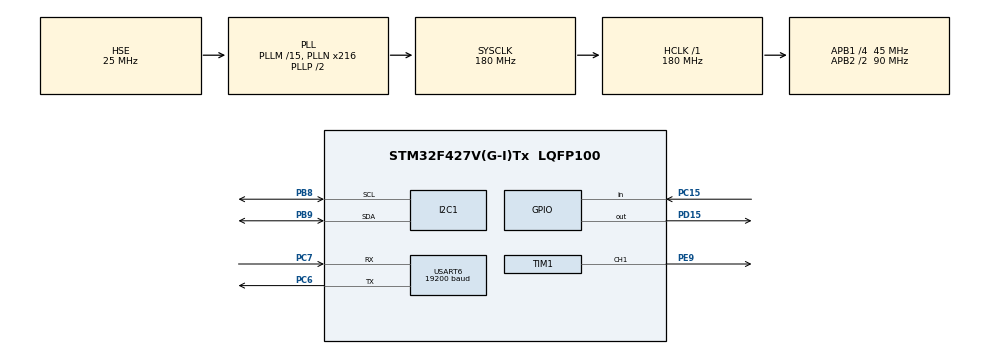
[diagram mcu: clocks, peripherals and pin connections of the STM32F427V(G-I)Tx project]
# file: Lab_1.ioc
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I2C1.I2C_Mode=I2C_Fast
Mcu.Family=STM32F4
Mcu.Name=STM32F427V(G-I)Tx
Mcu.Package=LQFP100
NVIC.PriorityGroup=NVIC_PRIORITYGROUP_4
NVIC.TIM6_DAC_IRQn=true\:0\:0\:false\:false\:true\:true\:true\:true
NVIC.USART6_IRQn=true\:0\:0\:false\:false\:true\:true\:true\:true
PA13.Mode=JTAG_5_pins
PA13.Signal=SYS_JTMS-SWDIO
PA14.Mode=JTAG_5_pins
PA14.Signal=SYS_JTCK-SWCLK
PA15.Mode=JTAG_5_pins
PA15.Signal=SYS_JTDI
PB3.Mode=JTAG_5_pins
PB3.Signal=SYS_JTDO-SWO
PB4.Mode=JTAG_5_pins
PB4.Signal=SYS_JTRST
PB8.Mode=I2C
PB8.Signal=I2C1_SCL
PB9.Mode=I2C
PB9.Signal=I2C1_SDA
PC15/OSC32_OUT.Signal=GPIO_Input
PC6.Mode=Asynchronous
PC6.Signal=USART6_TX
PC7.Mode=Asynchronous
PC7.Signal=USART6_RX
PD15.Signal=GPIO_Output
PE9.Signal=S_TIM1_CH1
PH0/OSC_IN.Mode=HSE-External-Oscillator
PH0/OSC_IN.Signal=RCC_OSC_IN
PH1/OSC_OUT.Mode=HSE-External-Oscillator
PH1/OSC_OUT.Signal=RCC_OSC_OUT
ProjectManager.HeapSize=0x200
ProjectManager.StackSize=0x400
ProjectManager.TargetToolchain=STM32CubeIDE
RCC.48MHZClocksFreq_Value=90000000
RCC.AHBFreq_Value=180000000
RCC.APB1CLKDivider=RCC_HCLK_DIV4
RCC.APB1Freq_Value=45000000
RCC.APB1TimFreq_Value=90000000
RCC.APB2CLKDivider=RCC_HCLK_DIV2
RCC.APB2Freq_Value=90000000
RCC.APB2TimFreq_Value=180000000
RCC.CortexFreq_Value=180000000
RCC.HCLKFreq_Value=180000000
RCC.HSE_VALUE=25000000
RCC.HSI_VALUE=16000000
RCC.LSE_VALUE=32768
RCC.PLLM=15
RCC.PLLN=216
RCC.PLLSourceVirtual=RCC_PLLSOURCE_HSE
RCC.SYSCLKFreq_VALUE=180000000
RCC.SYSCLKSource=RCC_SYSCLKSOURCE_PLLCLK
RCC.VCOOutputFreq_Value=360000000
SH.S_TIM1_CH1.0=TIM1_CH1,PWM Generation1 CH1
TIM1.AutoReloadPreload=TIM_AUTORELOAD_PRELOAD_ENABLE
TIM1.Channel-PWM\ Generation1\ CH1=TIM_CHANNEL_1
TIM1.Period=999
TIM1.Prescaler=8999
TIM6.Period=9
TIM6.Prescaler=8999
USART6.BaudRate=19200
USART6.VirtualMode=VM_ASYNC
VP_TIM6_VS_ClockSourceINT.Mode=Enable_Timer
board=custom

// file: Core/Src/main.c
/* USER CODE BEGIN Header */
/**
  ******************************************************************************
  * @file           : main.c
  * @brief          : Main program body
  ******************************************************************************
  * @attention
  *
  * Copyright (c) 2025 STMicroelectronics.
  * All rights reserved.
  *
  * This software is licensed under terms that can be found in the LICENSE file
  * in the root directory of this software component.
  * If no LICENSE file comes with this software, it is provided AS-IS.
  *
  ******************************************************************************
  */
/* USER CODE END Header */
#include "main.h"
#include "i2c.h"
#include "tim.h"
#include "usart.h"
#include "gpio.h"

/* USER CODE BEGIN Includes */
#include <stdio.h>
#include <stdlib.h>
#include <string.h>
#include <stdint.h>
#include "melody.h"
#include "melodies_data.h"
extern TIM_HandleTypeDef htim6;
/* USER CODE END Includes */

void SystemClock_Config(void);

/* USER CODE BEGIN 0 */
#define MAX_INPUT_LENGTH 512
#define MAX_MELODIES 4
#define MAX_USER_NOTES 256

// I2C keypad (SDK-1.1) parameters
#define KB_I2C_ADDRESS        (0xE2)          // 8-bit address
#define KB_I2C_READ_ADDRESS   (KB_I2C_ADDRESS | 1)
#define KB_I2C_WRITE_ADDRESS  (KB_I2C_ADDRESS & ~1)
#define KB_INPUT_REG          (0x0)
#define KB_OUTPUT_REG         (0x1)
#define KB_CONFIG_REG         (0x3)
#define KB_KEY_DEBOUNCE_MS    50U
#define KB_I2C_TIMEOUT        10U
#define MODE_BTN_PORT         GPIOC
#define MODE_BTN_PIN          GPIO_PIN_15

void print_string(char* s) {
	if (s == NULL) return;
	int len = strlen(s);
	if (len == 0) return;
	HAL_UART_Transmit(&huart6, (uint8_t *)s, len, HAL_MAX_DELAY);
}

static Melody* standard_melodies[MAX_MELODIES] = {NULL};
static Melody* user_melody = NULL;

// Keyboard state
static uint32_t kb_last_press_ms = 0;
static int kb_last_index = -1;
static uint8_t kb_row_hits[4] = {0};
static uint8_t kb_col_hits[3] = {0};
static uint32_t mode_btn_last_ms = 0;
static uint8_t mode_btn_last = 1;
static uint8_t keyboard_test_mode = 0;

// Key mapping: indices 1..12 -> chars used by app
static const char kb_map_music[12] = {
	'1','2','3',
	'4','5','6',
	'7','8','9',
	':','0','\r'
};

// Scan matrix via I2C expander; return key index 1..12 or -1 if none/invalid
static int kb_scan_index(void) {
	const uint32_t now = HAL_GetTick();
	if (now - kb_last_press_ms < KB_KEY_DEBOUNCE_MS) {
		return -1;
	}

	uint8_t tmp = 0;
	uint8_t reg_buffer = 0xFF;
	int detected_index = -1;
	int found = 0;

	if (HAL_I2C_Mem_Write(&hi2c1, KB_I2C_WRITE_ADDRESS, KB_OUTPUT_REG, 1, &tmp, 1, KB_I2C_TIMEOUT) != HAL_OK) {
		return -1;
	}

	for (int row = 0; row < 4; row++) {
		uint8_t cfg = (uint8_t)~(1U << row);
		if (HAL_I2C_Mem_Write(&hi2c1, KB_I2C_WRITE_ADDRESS, KB_CONFIG_REG, 1, &cfg, 1, KB_I2C_TIMEOUT) != HAL_OK) {
			continue;
		}
		HAL_Delay(1); // settle
		if (HAL_I2C_Mem_Read(&hi2c1, KB_I2C_READ_ADDRESS, KB_INPUT_REG, 1, &reg_buffer, 1, KB_I2C_TIMEOUT) != HAL_OK) {
			continue;
		}

		uint8_t col_code = reg_buffer >> 4; // upper 4 bits are columns
		int col = -1;
		switch (col_code) {
			case 6: col = 0; break; // 0b0110
			case 5: col = 1; break; // 0b0101
			case 3: col = 2; break; // 0b0011
			default: col = -1; break;
		}

		if (col != -1) {
			found++;
			kb_row_hits[row]++;
			kb_col_hits[col]++;
			if (found == 1) {
				detected_index = row * 3 + col + 1; // 1..12
			}
		}
	}

	int row_sum = kb_row_hits[0]+kb_row_hits[1]+kb_row_hits[2]+kb_row_hits[3];
	int col_sum = kb_col_hits[0]+kb_col_hits[1]+kb_col_hits[2];
	memset(kb_row_hits, 0, sizeof(kb_row_hits));
	memset(kb_col_hits, 0, sizeof(kb_col_hits));

	// Если ни одной валидной клавиши — сбросить last и выйти
	if (found == 0) {
		kb_last_index = -1;
		return -1;
	}

	if (found != 1 || row_sum != 1 || col_sum != 1) {
		kb_last_index = -1;
		return -1; // multi-press or no key
	}

	if (detected_index == kb_last_index) {
		return -1; // held key, ignore repeat
	}

	kb_last_index = detected_index;
	kb_last_press_ms = now;
	return detected_index;
}

static char kb_poll_char(void) {
	int idx = kb_scan_index();
	if (idx <= 0 || idx > 12) return 0;
	return kb_map_music[idx - 1];
}

static void kb_clear_last(void) {
	kb_last_index = -1;
}

static void handle_mode_button(void) {
	uint8_t state = HAL_GPIO_ReadPin(MODE_BTN_PORT, MODE_BTN_PIN);
	uint32_t now = HAL_GetTick();
	if (state != mode_btn_last && (now - mode_btn_last_ms) > 50U) {
		mode_btn_last = state;
		mode_btn_last_ms = now;
		if (state == GPIO_PIN_RESET) { // release (active-low)
			keyboard_test_mode = !keyboard_test_mode;
			if (keyboard_test_mode) {
				print_string("Keyboard test mode ON\r\n");
			} else {
				print_string("Application mode ON\r\n");
			}
		}
	}
}

static Melody* parse_user_melody_string(const char* input) {
    if (!input || strlen(input) == 0) {
        return NULL;
    }

    size_t note_count = 1;
    for (const char* p = input; *p; p++) {
        if (*p == ',') note_count++;
    }

    Melody* melody = melody_create(note_count, "User melody");
    if (!melody) return NULL;

    char* input_copy = strdup(input);
    if (!input_copy) {
        melody_free(melody);
        return NULL;
    }

    char* token = strtok(input_copy, ",");
    size_t index = 0;

    while (token && index < note_count) {
        uint32_t frequency = 0, duration = 0, pause = 0;
        if (sscanf(token, "%lu:%lu:%lu", &frequency, &duration, &pause) >= 2) {
            melody->notes[index].frequency = frequency;
            melody->notes[index].duration = duration;
            melody->notes[index].pause = pause;
            index++;
        }
        token = strtok(NULL, ",");
    }

    melody->count = index;
    free(input_copy);
    return melody;
}

static void load_standard_melodies(void) {
    standard_melodies[0] = get_happy_birthday();
    standard_melodies[1] = get_jingle_bells();
    standard_melodies[2] = get_elochka();
    standard_melodies[3] = get_imperial_march();
}

int duration = 0;
int melody_pause = 0;
int i=0;
int melody_playing =0;
Melody* melody = NULL;

void HAL_TIM_PeriodElapsedCallback(TIM_HandleTypeDef * htim) {
	if (htim->Instance != TIM6 || !melody_playing) {
		return;
	}

	if (melody_pause > 0) {
		melody_pause--;
		return;
	}

	if (melody->notes[i].frequency == 0) {
		htim1.Instance->CCR1 = 0;
	} else {
		htim1.Instance->ARR = 180000000 / ((melody->notes[i].frequency) * htim1.Instance->PSC) - 1;
		htim1.Instance->CCR1 = htim1.Instance->ARR >> 1;
	}

	duration++;

	if (duration >= melody->notes[i].duration) {
		duration = 0;
		i++;
		htim1.Instance->CCR1 = 0;

		if (i >= melody->count) {
			i = 0;
			melody_playing = 0;
		} else {
			melody_pause = melody->notes[i].pause;
		}
	}
}

static void play_melody_with_message() {
    print_string("Playing melody\r\n");

    i=0;
    duration = 0;
    melody_playing=1;
    melody_pause = 0;
}
char receive_input(void) {
    // 1) keypad first
    char key = kb_poll_char();
    if (key) {
    	return key;
    }

    // 2) UART (non-blocking)
    char c;
    HAL_StatusTypeDef status = HAL_UART_Receive(&huart6, (uint8_t*)&c, 1, 50);
    if (status == HAL_OK) {
        return c;
    }
    return 0;
}

static void handle_setup_menu(void) {
	print_string("=== Setup Menu ===\r\n");
	print_string("Enter notes one per line: frequency:duration[:pause]\r\n");
	print_string("Example: 440:500:100\r\n");
	print_string("Press Enter to add note; press Enter twice to finish\r\n");

	Note temp_notes[MAX_USER_NOTES];
	size_t note_count = 0;
	char note_buf[64] = {0};
	size_t note_len = 0;
	uint8_t last_enter = 0;

	while (1) {
		char c = receive_input();
		if (c == 0) continue;

		if (c == '\n' || c == '\r') {
			if (note_len == 0) {
				if (last_enter) {
					// finish input
					break;
				} else {
					last_enter = 1;
					print_string("\r\n"); // echo empty line
					continue;
				}
			}
			// parse current note
			note_buf[note_len] = '\0';
			uint32_t f=0,d=0,p=0;
			int scanned = sscanf(note_buf, "%lu:%lu:%lu", &f, &d, &p);
			if (scanned < 2) {
				print_string("\r\nError: note format must be freq:dur[:pause]\r\n");
				// reset current buffer
				note_len = 0;
				memset(note_buf, 0, sizeof(note_buf));
				last_enter = 0;
				continue;
			}
			if (note_count >= MAX_USER_NOTES) {
				print_string("\r\nError: too many notes\r\n");
				note_len = 0;
				memset(note_buf, 0, sizeof(note_buf));
				last_enter = 0;
				continue;
			}
			temp_notes[note_count].frequency = f;
			temp_notes[note_count].duration  = d;
			temp_notes[note_count].pause     = (scanned >= 3) ? p : 0;
			note_count++;

			print_string("\r\nNote added\r\n");

			// reset for next note
			note_len = 0;
			memset(note_buf, 0, sizeof(note_buf));
			last_enter = 0;
			continue;
		}

		if (note_len >= sizeof(note_buf) - 1) {
			print_string("\r\nError: note text too long\r\n");
			note_len = 0;
			memset(note_buf, 0, sizeof(note_buf));
			last_enter = 0;
			continue;
		}

		if (c >= 32 && c <= 126) {
			note_buf[note_len++] = c;
			char char_str[2] = {c, '\0'};
			print_string(char_str);
		}
	}

	// build melody
	if (note_count == 0) {
		print_string("Input is empty, exiting setup menu\r\n");
		return;
	}

	if (user_melody) {
		melody_free(user_melody);
	}
	user_melody = melody_create(note_count, "User melody");
	if (!user_melody) {
		print_string("Error: cannot allocate melody\r\n");
		return;
	}
	for (size_t k = 0; k < note_count; ++k) {
		user_melody->notes[k] = temp_notes[k];
	}
	user_melody->count = note_count;

	char count_str[32];
	sprintf(count_str, "%lu", (unsigned long)user_melody->count);
	print_string("User melody saved successfully! (");
	print_string(count_str);
	print_string(" notes)\r\n");
	print_string("Press '5' to play it\r\n");
}

/* USER CODE END 0 */

int main(void)
{

  /* MCU Configuration--------------------------------------------------------*/

  /* Reset of all peripherals, Initializes the Flash interface and the Systick. */
  HAL_Init();

  /* Configure the system clock */
  SystemClock_Config();

  /* Initialize all configured peripherals */
  MX_GPIO_Init();
  MX_USART6_UART_Init();
  MX_TIM6_Init();
  MX_TIM1_Init();
  MX_I2C1_Init();

  /* Infinite loop */
  /* USER CODE BEGIN WHILE */
  print_string("=== Musical Box ===\r\n");
  print_string("Commands:\r\n");
  print_string("  '1' - Play Happy Birthday\r\n");
  print_string("  '2' - Play Jingle Bells\r\n");
  print_string("  '3' - Play V lesu rodilas elochka\r\n");
  print_string("  '4' - Play Imperial March\r\n");
  print_string("  '5' - Play user melody\r\n");
  print_string("  Enter - Setup menu\r\n");
  print_string("Ready!\r\n");

  load_standard_melodies();

  HAL_TIM_Base_Start_IT(&htim6);
  HAL_TIM_PWM_Start(&htim1, TIM_CHANNEL_1);
  while (1)
  {
	handle_mode_button();

    /* USER CODE END WHILE */

    /* USER CODE BEGIN 3 */
    char c = receive_input();
	if (c == 0) {
		continue;
	}

	if (keyboard_test_mode) {
		char buf[16];
		snprintf(buf, sizeof(buf), "Key: %c\r\n", c);
		print_string(buf);
		kb_clear_last();
		continue;
	}

	// Проверяем, не играет ли сейчас мелодия
	if (melody_playing) {
		continue;
	}

	if (c >= '1' && c <= '4') {
		int melody_index = c - '1';
		if (melody_index < MAX_MELODIES && standard_melodies[melody_index]) {
			melody = standard_melodies[melody_index];
			play_melody_with_message();
		}
	}
	else if (c == '5') {
		if (user_melody) {
			melody = user_melody;
			play_melody_with_message();
		} else {
			print_string("No user melody loaded. Use Enter to enter setup menu.\r\n");
		}
	}
	else if (c == '\n' || c == '\r') {
		handle_setup_menu();
	}
  }
  /* USER CODE END 3 */
}

void SystemClock_Config(void)
{
  RCC_OscInitTypeDef RCC_OscInitStruct = {0};
  RCC_ClkInitTypeDef RCC_ClkInitStruct = {0};

  /** Configure the main internal regulator output voltage
  */
  __HAL_RCC_PWR_CLK_ENABLE();
  __HAL_PWR_VOLTAGESCALING_CONFIG(PWR_REGULATOR_VOLTAGE_SCALE1);

  /** Initializes the RCC Oscillators according to the specified parameters
  * in the RCC_OscInitTypeDef structure.
  */
  RCC_OscInitStruct.OscillatorType = RCC_OSCILLATORTYPE_HSE;
  RCC_OscInitStruct.HSEState = RCC_HSE_ON;
  RCC_OscInitStruct.PLL.PLLState = RCC_PLL_ON;
  RCC_OscInitStruct.PLL.PLLSource = RCC_PLLSOURCE_HSE;
  RCC_OscInitStruct.PLL.PLLM = 15;
  RCC_OscInitStruct.PLL.PLLN = 216;
  RCC_OscInitStruct.PLL.PLLP = RCC_PLLP_DIV2;
  RCC_OscInitStruct.PLL.PLLQ = 4;
  if (HAL_RCC_OscConfig(&RCC_OscInitStruct) != HAL_OK)
  {
    Error_Handler();
  }

  /** Activate the Over-Drive mode
  */
  if (HAL_PWREx_EnableOverDrive() != HAL_OK)
  {
    Error_Handler();
  }

  /** Initializes the CPU, AHB and APB buses clocks
  */
  RCC_ClkInitStruct.ClockType = RCC_CLOCKTYPE_HCLK|RCC_CLOCKTYPE_SYSCLK
                              |RCC_CLOCKTYPE_PCLK1|RCC_CLOCKTYPE_PCLK2;
  RCC_ClkInitStruct.SYSCLKSource = RCC_SYSCLKSOURCE_PLLCLK;
  RCC_ClkInitStruct.AHBCLKDivider = RCC_SYSCLK_DIV1;
  RCC_ClkInitStruct.APB1CLKDivider = RCC_HCLK_DIV4;
  RCC_ClkInitStruct.APB2CLKDivider = RCC_HCLK_DIV2;

  if (HAL_RCC_ClockConfig(&RCC_ClkInitStruct, FLASH_LATENCY_5) != HAL_OK)
  {
    Error_Handler();
  }
}

void Error_Handler(void)
{
  __disable_irq();
  while (1)
  {
  }
}
